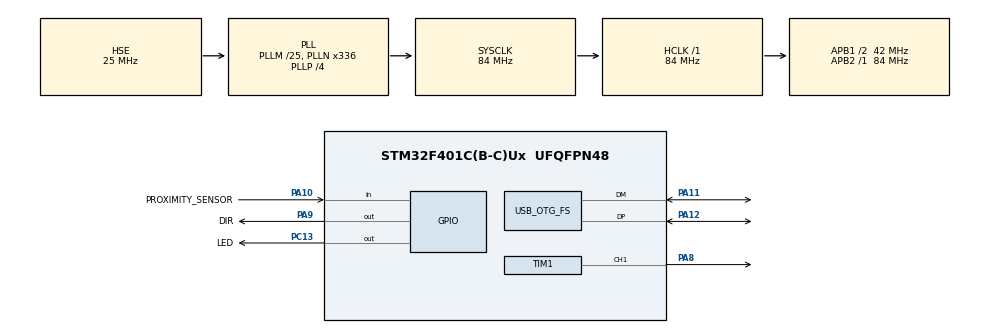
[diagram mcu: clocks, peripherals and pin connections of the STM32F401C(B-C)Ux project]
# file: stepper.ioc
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Mcu.Family=STM32F4
Mcu.Name=STM32F401C(B-C)Ux
Mcu.Package=UFQFPN48
NVIC.OTG_FS_IRQn=true\:0\:0\:false\:false\:true\:false\:true\:true
NVIC.PriorityGroup=NVIC_PRIORITYGROUP_4
NVIC.TIM1_UP_TIM10_IRQn=true\:0\:0\:false\:false\:true\:true\:true\:true
PA10.GPIO_Label=PROXIMITY_SENSOR
PA10.Signal=GPIO_Input
PA11.Mode=Device_Only
PA11.Signal=USB_OTG_FS_DM
PA12.Mode=Device_Only
PA12.Signal=USB_OTG_FS_DP
PA13.Mode=Serial_Wire
PA13.Signal=SYS_JTMS-SWDIO
PA14.Mode=Serial_Wire
PA14.Signal=SYS_JTCK-SWCLK
PA8.Signal=S_TIM1_CH1
PA9.GPIO_Label=DIR
PA9.Signal=GPIO_Output
PC13-ANTI_TAMP.GPIO_Label=LED
PC13-ANTI_TAMP.Signal=GPIO_Output
PH0\ -\ OSC_IN.Mode=HSE-External-Oscillator
PH0\ -\ OSC_IN.Signal=RCC_OSC_IN
PH1\ -\ OSC_OUT.Mode=HSE-External-Oscillator
PH1\ -\ OSC_OUT.Signal=RCC_OSC_OUT
ProjectManager.HeapSize=0x200
ProjectManager.StackSize=0x400
ProjectManager.TargetToolchain=STM32CubeIDE
RCC.48MHZClocksFreq_Value=48000000
RCC.AHBFreq_Value=84000000
RCC.APB1CLKDivider=RCC_HCLK_DIV2
RCC.APB1Freq_Value=42000000
RCC.APB1TimFreq_Value=84000000
RCC.APB2Freq_Value=84000000
RCC.APB2TimFreq_Value=84000000
RCC.CortexFreq_Value=84000000
RCC.HCLKFreq_Value=84000000
RCC.HSE_VALUE=25000000
RCC.HSI_VALUE=16000000
RCC.LSE_VALUE=32768
RCC.PLLM=25
RCC.PLLN=336
RCC.PLLP=RCC_PLLP_DIV4
RCC.PLLQ=7
RCC.SYSCLKFreq_VALUE=84000000
RCC.SYSCLKSource=RCC_SYSCLKSOURCE_PLLCLK
RCC.VCOOutputFreq_Value=336000000
SH.S_TIM1_CH1.0=TIM1_CH1,PWM Generation1 CH1
TIM1.Channel-PWM\ Generation1\ CH1=TIM_CHANNEL_1
USB_DEVICE.CLASS_NAME_FS=CDC
USB_DEVICE.VirtualMode=Cdc
USB_DEVICE.VirtualModeFS=Cdc_FS
USB_OTG_FS.VirtualMode=Device_Only
VP_USB_DEVICE_VS_USB_DEVICE_CDC_FS.Mode=CDC_FS
board=custom

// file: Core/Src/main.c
/* USER CODE BEGIN Header */
/**
  ******************************************************************************
  * @file           : main.c
  * @brief          : Main program body
  ******************************************************************************
  * @attention
  *
  * Copyright (c) 2025 STMicroelectronics.
  * All rights reserved.
  *
  * This software is licensed under terms that can be found in the LICENSE file
  * in the root directory of this software component.
  * If no LICENSE file comes with this software, it is provided AS-IS.
  *
  ******************************************************************************
  */
/* USER CODE END Header */
#include "main.h"
#include "tim.h"
#include "usb_device.h"
#include "gpio.h"

/* USER CODE BEGIN Includes */

#include "math.h"
#include "usbd_cdc_if.h"

/* USER CODE END Includes */

/* USER CODE BEGIN PV */

const double DIST_PER_STEP = 0.0028; // mm/step
uint32_t MIN_VELOCITY = 14000; // Initial velocity of stepper
uint32_t MAX_VELOCITY= 10000; // Final velocity of stepper

uint32_t RAMP_UP_STEPS = 500;
uint32_t STEP_SIZE = 0;

enum MODES{START, ACCELERATE, CRUISE, DECCELERATE, STOP};
uint8_t mode = STOP;

volatile uint32_t t1Count = 0;
volatile uint32_t cum_ticks = 0;
volatile uint32_t curr_ticks = 0;
uint32_t curr_velocity = 0;

enum DIRECTIONS{AWAY, HOME};
GPIO_PinState prox_sens = GPIO_PIN_SET;

sque usb={0};
com SRCom={0};

mpque motion_profiles={0};
motion_profile curr_mp={};
/* USER CODE END PV */

void SystemClock_Config(void);

/* USER CODE BEGIN 0 */

void HAL_TIM_PeriodElapsedCallback(TIM_HandleTypeDef *htim) {

	t1Count++;

	// If Proximity Sensor triggered don't do anything
	prox_sens = HAL_GPIO_ReadPin(PROXIMITY_SENSOR_GPIO_Port, PROXIMITY_SENSOR_Pin);
	if(curr_mp.dir == HOME && prox_sens == GPIO_PIN_RESET){
		mode = STOP;
	}

	switch(mode){
		case STOP:
			if(!readMotionProfile(&curr_mp)){
				break;
			}

			// Reset max_velocity to {MAX_VELOCITY} if none provided
			if(!curr_mp.vel){
				curr_mp.vel = MAX_VELOCITY;
			}

			// Set Direction
			HAL_GPIO_WritePin(DIR_GPIO_Port, DIR_Pin, curr_mp.dir);

			htim->Instance->ARR = MIN_VELOCITY;
			htim->Instance->CCR1 = 0;
			curr_ticks = 0;
			mode = START;
			break;
		case START:
			cum_ticks = 0;
			curr_ticks = 0;
			curr_velocity = MIN_VELOCITY;
			mode = ACCELERATE;
			break;
		case ACCELERATE:
			if(curr_velocity > curr_mp.vel && ++curr_ticks <= curr_mp.acc_ticks){
				curr_velocity -= STEP_SIZE;
			}
			else if (curr_mp.cruise_ticks > 0){
				mode = CRUISE;
				curr_ticks = 0;
			}
			else{
				mode = DECCELERATE;
				curr_ticks = 0;
			}
			break;
		case CRUISE:
			if(++curr_ticks >= curr_mp.cruise_ticks){
				mode = DECCELERATE;
				curr_ticks = 0;
			}
			break;
		case DECCELERATE:
			if(curr_velocity < MIN_VELOCITY && ++curr_ticks <= curr_mp.dec_ticks){
				curr_velocity += STEP_SIZE;
			}
			else{
				mode = STOP;
			}
			break;
	}

	if(mode != STOP){
		cum_ticks++;
		htim->Instance->ARR = curr_velocity;
		htim->Instance->CCR1 = curr_velocity/2;
	}
}

uint8_t insertMotionProfile(motion_profile *mp){
	if((motion_profiles.tail+1)%BUFSIZE == motion_profiles.head){
		return 0;
	}

	motion_profiles.buf[motion_profiles.tail++] = *mp;
	motion_profiles.tail%=BUFSIZE;
	return 1;
}

int readMotionProfile(motion_profile *mp){
	if(motion_profiles.head == motion_profiles.tail){
		return 0;
	}

	*mp = motion_profiles.buf[motion_profiles.head++];
	motion_profiles.head%=BUFSIZE;
	return 1;
}

/**
 * startStepper - Converts dist (mm) into ticks and starts stepper in dir.
 *
 * @dir: direction of stepper (0: Clockwise, 1: Anti-clockwise)
 *
 * @dist: Amount of distance to move in mm
 */
void startStepper(GPIO_PinState dir, double dist){

	motion_profile mp = {};

	// Convert mm to ticks
	uint32_t dist_ticks = dist/DIST_PER_STEP;

	// Cruise Decision
	if(dist_ticks >= 2*RAMP_UP_STEPS){
		mp.cruise_ticks = (dist_ticks - 2*RAMP_UP_STEPS);
		mp.dec_ticks = mp.acc_ticks = RAMP_UP_STEPS;
	}
	else{
		mp.cruise_ticks = 0;
		mp.dec_ticks = mp.acc_ticks = dist_ticks/2;
	}

	// Direction to move
	mp.dir = dir;

	insertMotionProfile(&mp);
}

/**
 * debugStepper - Moves stepper in dir for n ticks at vel speed
 *
 * @dir: direction of stepper (0: Clockwise, 1: Anti-clockwise)
 *
 * @ticks: Amount of ticks to move
 *
 * @vel: top speed of motor in Hz/s
 */
void debugStepper(uint8_t dir, uint32_t ticks, uint32_t vel){

	motion_profile mp = {};

	// Override MAX_VELOCITY
	mp.vel = vel;

	//Cruise Decision
	if(ticks >= 2*RAMP_UP_STEPS){
		mp.cruise_ticks = (ticks - 2*RAMP_UP_STEPS);
		mp.dec_ticks = mp.acc_ticks = RAMP_UP_STEPS;
	}
	else{
		mp.cruise_ticks = 0;
		mp.dec_ticks = mp.acc_ticks = ticks/2;
	}

	// Direction to move
	mp.dir = dir;

	insertMotionProfile(&mp);
}

void SendString(char* buf){
	CDC_Transmit_FS(buf, strlen(buf));
}

void ProcessCommand(char *buf) {
	char *mt=NULL;
	char msg[128] = {0};
	if ((mt=strstr(buf,"$START:")) !=NULL) {
		int dir=0;
		int dist=0;
		int parsed = sscanf(&mt[7],"%d %d",&dir, &dist);
		if (parsed == 2) {
			startStepper((uint8_t)dir, (double)dist);
			sprintf(msg,"Stepper Started\r\n");
		} else {
			sprintf(msg,"Invalid START\r\n");
		}
		SendString(msg);
	}
	else if ((mt=strstr(buf,"$RESET:")) !=NULL) {
		SendString("Resetting in 5 seconds\r\n");
		HAL_Delay(5000);
		NVIC_SystemReset();
	}
	else if((mt=strstr(buf,"$DEBUG:")) != NULL){
		int dir=0;
		int ticks=0;
		uint32_t vel=0;
		int parsed = sscanf(&mt[7],"%d %d %lu",&dir, &ticks, &vel);
		if (parsed == 3){
			debugStepper(dir, ticks, vel);
            sprintf(msg, "Stepper Debug Started: dir=%d ticks=%d vel=%lu\r\n", dir, ticks, vel);
		}
		else{
			 sprintf(msg, "Invalid DEBUG\r\n");
		}
		SendString(msg);
	}
}

uint8_t read(char* tmp){
	if(usb.head==usb.tail){
		return 0;
	}
	char a = usb.buf[usb.head++];
	*tmp = a;
	usb.head%=BUFSIZE;
	return 1;
}

char* ComProcess() {
  char tmp=0;
  while (read(&tmp)) {
    switch(SRCom.state) {
      case 0x00:
        if ('$'==tmp) {
          memset(SRCom.buf,0,sizeof(SRCom.buf));
          SRCom.bpointer=0;
          SRCom.buf[SRCom.bpointer++]=tmp;
          SRCom.state=1;
        }
      break;
      case 0x01:
//        tmp=receive(chn,10);
        if ((tmp>=0x20) && (tmp<=0x7f)) {
          SRCom.buf[SRCom.bpointer++]=tmp;
          if (SRCom.bpointer>=(BUFSIZE-1)) {
            // Discard everything
            SRCom.bpointer=0;
            SRCom.state=0;
          }
        } else
        {
          if ('\n'==tmp) {
            SRCom.buf[SRCom.bpointer]=0;
			SRCom.state=2;
            return SRCom.buf;
          }
        }
      break;
      case 0x02:
      break;
    }
  }
  return NULL;
}

void calibrate(){
	// Check if you are already in home or not
	prox_sens = HAL_GPIO_ReadPin(PROXIMITY_SENSOR_GPIO_Port, PROXIMITY_SENSOR_Pin);
	if(prox_sens == GPIO_PIN_RESET){
		// Move Stepper out of home
		startStepper(AWAY, 10);
	}

	// The stepper will be moved towards home until it triggers the proximity sensor
	startStepper(HOME, 10000);
}

/* USER CODE END 0 */

int main(void)
{

  /* MCU Configuration--------------------------------------------------------*/

  /* Reset of all peripherals, Initializes the Flash interface and the Systick. */
  HAL_Init();

  /* Configure the system clock */
  SystemClock_Config();

  /* Initialize all configured peripherals */
  MX_GPIO_Init();
  MX_TIM1_Init();
  MX_USB_DEVICE_Init();
  /* USER CODE BEGIN 2 */

  // Stepper motor won't be rotating in the beginning
  htim1.Instance->PSC=11;
  htim1.Instance->ARR=MIN_VELOCITY;
  htim1.Instance->CCR1=0;

  // Compute interval for ramping up and ramping down
  STEP_SIZE = (MIN_VELOCITY - MAX_VELOCITY)/RAMP_UP_STEPS;

  // Start Timer 1 Callback
  HAL_TIM_Base_Start_IT(&htim1);

  // Start PWM on TIM2 CH1
  HAL_TIM_PWM_Start(&htim1, TIM_CHANNEL_1);

  // Calibration
  calibrate();

  /* USER CODE END 2 */

  /* Infinite loop */
  /* USER CODE BEGIN WHILE */
  char* a = NULL;
  while (1)
  {
	  if((a=ComProcess())!=NULL){
		  ProcessCommand(SRCom.buf);
		  SRCom.state = 0;
	  }
    /* USER CODE END WHILE */

  }
}

void SystemClock_Config(void)
{
  RCC_OscInitTypeDef RCC_OscInitStruct = {0};
  RCC_ClkInitTypeDef RCC_ClkInitStruct = {0};

  /** Configure the main internal regulator output voltage
  */
  __HAL_RCC_PWR_CLK_ENABLE();
  __HAL_PWR_VOLTAGESCALING_CONFIG(PWR_REGULATOR_VOLTAGE_SCALE2);

  /** Initializes the RCC Oscillators according to the specified parameters
  * in the RCC_OscInitTypeDef structure.
  */
  RCC_OscInitStruct.OscillatorType = RCC_OSCILLATORTYPE_HSE;
  RCC_OscInitStruct.HSEState = RCC_HSE_ON;
  RCC_OscInitStruct.PLL.PLLState = RCC_PLL_ON;
  RCC_OscInitStruct.PLL.PLLSource = RCC_PLLSOURCE_HSE;
  RCC_OscInitStruct.PLL.PLLM = 25;
  RCC_OscInitStruct.PLL.PLLN = 336;
  RCC_OscInitStruct.PLL.PLLP = RCC_PLLP_DIV4;
  RCC_OscInitStruct.PLL.PLLQ = 7;
  if (HAL_RCC_OscConfig(&RCC_OscInitStruct) != HAL_OK)
  {
    Error_Handler();
  }

  /** Initializes the CPU, AHB and APB buses clocks
  */
  RCC_ClkInitStruct.ClockType = RCC_CLOCKTYPE_HCLK|RCC_CLOCKTYPE_SYSCLK
                              |RCC_CLOCKTYPE_PCLK1|RCC_CLOCKTYPE_PCLK2;
  RCC_ClkInitStruct.SYSCLKSource = RCC_SYSCLKSOURCE_PLLCLK;
  RCC_ClkInitStruct.AHBCLKDivider = RCC_SYSCLK_DIV1;
  RCC_ClkInitStruct.APB1CLKDivider = RCC_HCLK_DIV2;
  RCC_ClkInitStruct.APB2CLKDivider = RCC_HCLK_DIV1;

  if (HAL_RCC_ClockConfig(&RCC_ClkInitStruct, FLASH_LATENCY_2) != HAL_OK)
  {
    Error_Handler();
  }
}

void Error_Handler(void)
{
  __disable_irq();
  while (1)
  {
  }
}
